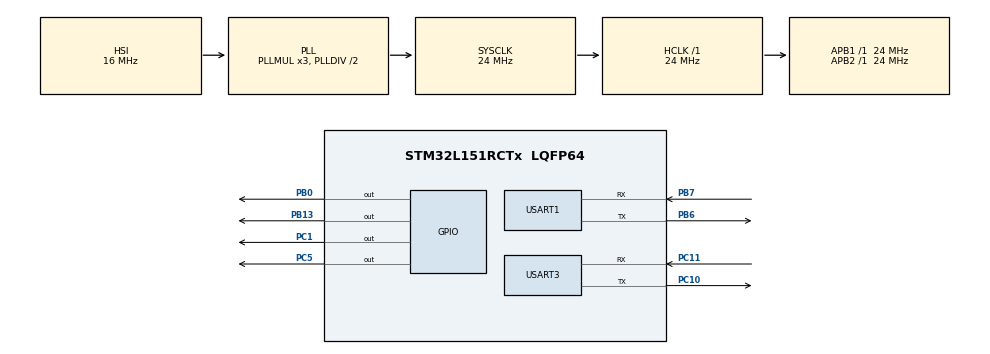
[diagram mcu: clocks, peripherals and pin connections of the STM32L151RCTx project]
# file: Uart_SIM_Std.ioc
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Mcu.Family=STM32L1
Mcu.Name=STM32L151RCTx
Mcu.Package=LQFP64
NVIC.PriorityGroup=NVIC_PRIORITYGROUP_4
NVIC.USART1_IRQn=true\:0\:0\:false\:false\:true\:true\:true\:true
NVIC.USART3_IRQn=true\:0\:0\:false\:false\:true\:true\:true\:true
PA13.Mode=Serial_Wire
PA13.Signal=SYS_JTMS-SWDIO
PA14.Mode=Serial_Wire
PA14.Signal=SYS_JTCK-SWCLK
PB0.Signal=GPIO_Output
PB13.Signal=GPIO_Output
PB6.Mode=Asynchronous
PB6.Signal=USART1_TX
PB7.Mode=Asynchronous
PB7.Signal=USART1_RX
PC1.GPIO_PuPd=GPIO_PULLDOWN
PC1.PinState=GPIO_PIN_RESET
PC1.Signal=GPIO_Output
PC10.Mode=Asynchronous
PC10.Signal=USART3_TX
PC11.Mode=Asynchronous
PC11.Signal=USART3_RX
PC14-OSC32_IN.Mode=LSE-External-Oscillator
PC14-OSC32_IN.Signal=RCC_OSC32_IN
PC15-OSC32_OUT.Mode=LSE-External-Oscillator
PC15-OSC32_OUT.Signal=RCC_OSC32_OUT
PC5.Signal=GPIO_Output
ProjectManager.HeapSize=0x200
ProjectManager.StackSize=0x400
ProjectManager.TargetToolchain=MDK-ARM V5
RCC.48MHZClocksFreq_Value=24000000
RCC.AHBFreq_Value=24000000
RCC.APB1Freq_Value=24000000
RCC.APB1TimFreq_Value=24000000
RCC.APB2Freq_Value=24000000
RCC.APB2TimFreq_Value=24000000
RCC.HCLKFreq_Value=24000000
RCC.HSE_VALUE=24000000
RCC.HSI_VALUE=16000000
RCC.MSI_VALUE=2097000
RCC.RTCClockSelection=RCC_RTCCLKSOURCE_LSE
RCC.RTCClockSelectionVirtual=RCC_RTCCLKSOURCE_LSE
RCC.SYSCLKFreq_VALUE=24000000
RCC.SYSCLKSource=RCC_SYSCLKSOURCE_PLLCLK
RCC.VCOOutputFreq_Value=48000000
USART1.VirtualMode=VM_ASYNC
USART3.VirtualMode=VM_ASYNC
VP_RTC_VS_RTC_Activate.Mode=RTC_Enabled
VP_RTC_VS_RTC_Calendar.Mode=RTC_Calendar
board=custom

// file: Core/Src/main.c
/* USER CODE BEGIN Header */
/**
  ******************************************************************************
  * @file           : main.c
  * @brief          : Main program body
  ******************************************************************************
  * @attention
  *
  * Copyright (c) 2023 STMicroelectronics.
  * All rights reserved.
  *
  * This software is licensed under terms that can be found in the LICENSE file
  * in the root directory of this software component.
  * If no LICENSE file comes with this software, it is provided AS-IS.
  *
  ******************************************************************************
  */
/* USER CODE END Header */
#include "main.h"

/* USER CODE BEGIN Includes */
#include "user_sim.h"
/* USER CODE END Includes */

/* USER CODE BEGIN PD */
#define RECONNECT_SIM         -1
#define CONFIG_SIM             0
#define GETTIME_SIM            1
#define CHECK_CONNECT_SIM      2
#define SEND_DATA_SERVER_SIM   3
/* USER CODE END PD */

RTC_HandleTypeDef hrtc;

UART_HandleTypeDef huart1;
UART_HandleTypeDef huart3;

/* USER CODE BEGIN PV */
UART_BUFFER sUart1 =
{
	.huart = &huart1,
};

UART_BUFFER sUart3 =
{
	.huart = &huart3,
};

RTC_TimeTypeDef sTime;
RTC_DateTypeDef sDate;

REAL_TIME RTC_Current={0};

uint8_t get_RTC=0;          //Xac nhan viec lay thoi gian tu mang di dong

int8_t module_sim_step=0;  //Trang thai dang lam viec Module Sim
/* USER CODE END PV */

void SystemClock_Config(void);
static void MX_GPIO_Init(void);
static void MX_USART1_UART_Init(void);
static void MX_USART3_UART_Init(void);
static void MX_RTC_Init(void);
/* USER CODE BEGIN PFP */
void HAL_UART_RxCpltCallback(UART_HandleTypeDef *huart);
/* USER CODE END PFP */

/* USER CODE BEGIN 0 */
void Set_RTC(REAL_TIME RTC_Current);
void TimeCurrent_And_PackingNews(void);
void Module_SIM(void);

int8_t SendData_Control_Sim(void);
int8_t Check_Connect_Error_Sim(void);
int8_t Config_Module_Sim(void);
int8_t Get_Real_Time_Sim(void);
int8_t Reconnect_Server_Sim(void);
/* USER CODE END 0 */

int main(void)
{

  /* MCU Configuration--------------------------------------------------------*/

  /* Reset of all peripherals, Initializes the Flash interface and the Systick. */
  HAL_Init();

  /* Configure the system clock */
  SystemClock_Config();

  /* Initialize all configured peripherals */
  MX_GPIO_Init();
  MX_USART1_UART_Init();
  MX_USART3_UART_Init();
  MX_RTC_Init();
  /* USER CODE BEGIN 2 */
	HAL_UART_Receive_IT(sUart1.huart,&sUart1.buffer,1);
	HAL_UART_Receive_IT(sUart3.huart,&sUart1.buffer,1);
	Get_Addr_Read_Write();
  /* USER CODE END 2 */

  /* Infinite loop */
  while (1)
  {

    /* USER CODE BEGIN 3 */

		/* Lam viec voi Module Sim */
		Module_SIM();

		/*Lay thoi gian tu RTC*/
		TimeCurrent_And_PackingNews();
  }
  /* USER CODE END 3 */
}

void SystemClock_Config(void)
{
  RCC_OscInitTypeDef RCC_OscInitStruct = {0};
  RCC_ClkInitTypeDef RCC_ClkInitStruct = {0};
  RCC_PeriphCLKInitTypeDef PeriphClkInit = {0};

  /** Configure the main internal regulator output voltage
  */
  __HAL_PWR_VOLTAGESCALING_CONFIG(PWR_REGULATOR_VOLTAGE_SCALE1);

  /** Initializes the RCC Oscillators according to the specified parameters
  * in the RCC_OscInitTypeDef structure.
  */
  RCC_OscInitStruct.OscillatorType = RCC_OSCILLATORTYPE_HSI|RCC_OSCILLATORTYPE_LSE;
  RCC_OscInitStruct.LSEState = RCC_LSE_ON;
  RCC_OscInitStruct.HSIState = RCC_HSI_ON;
  RCC_OscInitStruct.HSICalibrationValue = RCC_HSICALIBRATION_DEFAULT;
  RCC_OscInitStruct.PLL.PLLState = RCC_PLL_ON;
  RCC_OscInitStruct.PLL.PLLSource = RCC_PLLSOURCE_HSI;
  RCC_OscInitStruct.PLL.PLLMUL = RCC_PLL_MUL3;
  RCC_OscInitStruct.PLL.PLLDIV = RCC_PLL_DIV2;
  if (HAL_RCC_OscConfig(&RCC_OscInitStruct) != HAL_OK)
  {
    Error_Handler();
  }

  /** Initializes the CPU, AHB and APB buses clocks
  */
  RCC_ClkInitStruct.ClockType = RCC_CLOCKTYPE_HCLK|RCC_CLOCKTYPE_SYSCLK
                              |RCC_CLOCKTYPE_PCLK1|RCC_CLOCKTYPE_PCLK2;
  RCC_ClkInitStruct.SYSCLKSource = RCC_SYSCLKSOURCE_PLLCLK;
  RCC_ClkInitStruct.AHBCLKDivider = RCC_SYSCLK_DIV1;
  RCC_ClkInitStruct.APB1CLKDivider = RCC_HCLK_DIV1;
  RCC_ClkInitStruct.APB2CLKDivider = RCC_HCLK_DIV1;

  if (HAL_RCC_ClockConfig(&RCC_ClkInitStruct, FLASH_LATENCY_1) != HAL_OK)
  {
    Error_Handler();
  }
  PeriphClkInit.PeriphClockSelection = RCC_PERIPHCLK_RTC;
  PeriphClkInit.RTCClockSelection = RCC_RTCCLKSOURCE_LSE;
  if (HAL_RCCEx_PeriphCLKConfig(&PeriphClkInit) != HAL_OK)
  {
    Error_Handler();
  }
}

static void MX_RTC_Init(void)
{

  RTC_TimeTypeDef sTime = {0};
  RTC_DateTypeDef sDate = {0};

  /** Initialize RTC Only
  */
  hrtc.Instance = RTC;
  hrtc.Init.HourFormat = RTC_HOURFORMAT_24;
  hrtc.Init.AsynchPrediv = 127;
  hrtc.Init.SynchPrediv = 255;
  hrtc.Init.OutPut = RTC_OUTPUT_DISABLE;
  hrtc.Init.OutPutPolarity = RTC_OUTPUT_POLARITY_HIGH;
  hrtc.Init.OutPutType = RTC_OUTPUT_TYPE_OPENDRAIN;
  if (HAL_RTC_Init(&hrtc) != HAL_OK)
  {
    Error_Handler();
  }

  /* USER CODE BEGIN Check_RTC_BKUP */
	if(HAL_RTCEx_BKUPRead(&hrtc, RTC_BKP_DR1)==0x2608)
	{
  /* USER CODE END Check_RTC_BKUP */

  /** Initialize RTC and set the Time and Date
  */
  sTime.Hours = 0x0;
  sTime.Minutes = 0x0;
  sTime.Seconds = 0x0;
  sTime.DayLightSaving = RTC_DAYLIGHTSAVING_NONE;
  sTime.StoreOperation = RTC_STOREOPERATION_RESET;
  if (HAL_RTC_SetTime(&hrtc, &sTime, RTC_FORMAT_BCD) != HAL_OK)
  {
    Error_Handler();
  }
  sDate.WeekDay = RTC_WEEKDAY_MONDAY;
  sDate.Month = RTC_MONTH_JANUARY;
  sDate.Date = 0x1;
  sDate.Year = 0x0;

  if (HAL_RTC_SetDate(&hrtc, &sDate, RTC_FORMAT_BCD) != HAL_OK)
  {
    Error_Handler();
  }
  /* USER CODE BEGIN RTC_Init 2 */
	HAL_RTCEx_BKUPWrite(&hrtc, RTC_BKP_DR1, 0x2608);
	}
  /* USER CODE END RTC_Init 2 */

}

static void MX_USART1_UART_Init(void)
{

  huart1.Instance = USART1;
  huart1.Init.BaudRate = 115200;
  huart1.Init.WordLength = UART_WORDLENGTH_8B;
  huart1.Init.StopBits = UART_STOPBITS_1;
  huart1.Init.Parity = UART_PARITY_NONE;
  huart1.Init.Mode = UART_MODE_TX_RX;
  huart1.Init.HwFlowCtl = UART_HWCONTROL_NONE;
  huart1.Init.OverSampling = UART_OVERSAMPLING_16;
  if (HAL_UART_Init(&huart1) != HAL_OK)
  {
    Error_Handler();
  }

}

static void MX_USART3_UART_Init(void)
{

  huart3.Instance = USART3;
  huart3.Init.BaudRate = 115200;
  huart3.Init.WordLength = UART_WORDLENGTH_8B;
  huart3.Init.StopBits = UART_STOPBITS_1;
  huart3.Init.Parity = UART_PARITY_NONE;
  huart3.Init.Mode = UART_MODE_TX_RX;
  huart3.Init.HwFlowCtl = UART_HWCONTROL_NONE;
  huart3.Init.OverSampling = UART_OVERSAMPLING_16;
  if (HAL_UART_Init(&huart3) != HAL_OK)
  {
    Error_Handler();
  }

}

static void MX_GPIO_Init(void)
{
  GPIO_InitTypeDef GPIO_InitStruct = {0};

  /* GPIO Ports Clock Enable */
  __HAL_RCC_GPIOC_CLK_ENABLE();
  __HAL_RCC_GPIOB_CLK_ENABLE();
  __HAL_RCC_GPIOA_CLK_ENABLE();

  /*Configure GPIO pin Output Level */
  HAL_GPIO_WritePin(GPIOC, GPIO_PIN_1|GPIO_PIN_5, GPIO_PIN_RESET);

  /*Configure GPIO pin Output Level */
  HAL_GPIO_WritePin(GPIOB, GPIO_PIN_0|GPIO_PIN_13, GPIO_PIN_RESET);

  /*Configure GPIO pin : PC1 */
  GPIO_InitStruct.Pin = GPIO_PIN_1;
  GPIO_InitStruct.Mode = GPIO_MODE_OUTPUT_PP;
  GPIO_InitStruct.Pull = GPIO_PULLDOWN;
  GPIO_InitStruct.Speed = GPIO_SPEED_FREQ_LOW;
  HAL_GPIO_Init(GPIOC, &GPIO_InitStruct);

  /*Configure GPIO pin : PC5 */
  GPIO_InitStruct.Pin = GPIO_PIN_5;
  GPIO_InitStruct.Mode = GPIO_MODE_OUTPUT_PP;
  GPIO_InitStruct.Pull = GPIO_NOPULL;
  GPIO_InitStruct.Speed = GPIO_SPEED_FREQ_LOW;
  HAL_GPIO_Init(GPIOC, &GPIO_InitStruct);

  /*Configure GPIO pins : PB0 PB13 */
  GPIO_InitStruct.Pin = GPIO_PIN_0|GPIO_PIN_13;
  GPIO_InitStruct.Mode = GPIO_MODE_OUTPUT_PP;
  GPIO_InitStruct.Pull = GPIO_NOPULL;
  GPIO_InitStruct.Speed = GPIO_SPEED_FREQ_LOW;
  HAL_GPIO_Init(GPIOB, &GPIO_InitStruct);

}

/* USER CODE BEGIN 4 */
void Module_SIM(void)
{
	int8_t check_module_sim_step=0;
	switch(module_sim_step)
	{
		case RECONNECT_SIM:
			check_module_sim_step = Reconnect_Server_Sim();
			if(check_module_sim_step == 1) module_sim_step = GETTIME_SIM;
			if(check_module_sim_step ==-1) module_sim_step = CONFIG_SIM;
			break;

		case CONFIG_SIM:
			check_module_sim_step = Config_Module_Sim();
			if(check_module_sim_step == 1) module_sim_step = GETTIME_SIM;
			break;

		case GETTIME_SIM:
			check_module_sim_step = Get_Real_Time_Sim();
			if(check_module_sim_step == 1) module_sim_step++;
			if(check_module_sim_step ==-1) module_sim_step = CONFIG_SIM;
			break;

		case CHECK_CONNECT_SIM:
			check_module_sim_step = Check_Connect_Error_Sim();
			if(check_module_sim_step == -1) module_sim_step = RECONNECT_SIM;
			else module_sim_step++;
			break;

		case SEND_DATA_SERVER_SIM:
			check_module_sim_step = SendData_Control_Sim();
			if(check_module_sim_step == -1) module_sim_step = CONFIG_SIM;
			else module_sim_step++;
			break;

		default:
			HAL_GPIO_WritePin(GPIOC, GPIO_PIN_1, GPIO_PIN_SET);
			module_sim_step = GETTIME_SIM;
			break;
	}
}

/*
	@brief  Cau hinh Module Sim
	@return (1) Hoan thanh
	@return (0) Chua hoan thanh
*/
int8_t Config_Module_Sim(void)
{
	HAL_GPIO_WritePin(GPIOC, GPIO_PIN_1, GPIO_PIN_RESET);
	Reset_Cipsend();
	if(Config_SIM(&sUart1, &sUart3) == 1)
	{
		if(sDate.Year == 0) get_RTC=1;
		return 1;
	}
	return 0;
}

/*
	@brief  Kiem tra ket noi Module Sim
	@return (1) Co ket noi
	@return (-1) Mat ket noi
*/
int8_t Check_Connect_Error_Sim(void)
{
	if(Check_Disconnect_Error(&sUart1, &sUart3) == 1) // Kiem tra mat ket noi
	{
		Delete_Buffer(&sUart3);
		return -1;
	}
	return 1;
}

/*
	@brief  Ket noi lai Module Sim voi Server
	@return (-1) Khong ket noi duoc sau 3 lan
	@return (1)  Ket noi thanh cong
	@return (0)  Chua hoan thanh
*/
int8_t Reconnect_Server_Sim(void)
{
	HAL_GPIO_WritePin(GPIOC, GPIO_PIN_1, GPIO_PIN_RESET);
	Reset_Cipsend();
	int8_t connect_server = Connect_Server_SIM(&sUart1, &sUart3); // Ket noi lai Module Sim voi Server
	if(connect_server == 1) return 1;
	if(connect_server == -1)return -1;
	return 0;
}

/*
	@brief  Gui du lieu len Server
	@return (-1) Gui khong thanh cong
	@return (1)  Gui thanh cong
	@return (0)  Chua gui xong
*/
int8_t SendData_Control_Sim(void)
{
	int8_t check_SendData_Server = SendData_Server(&sUart1, &sUart3, &RTC_Current);
	if(check_SendData_Server == -1) return -1;
	else if(check_SendData_Server == 1) return 1;
	return 0;
}

/*
	@brief  Lay thoi gian tu mang di dong
	@return (-1) Khong co ket noi
	@return (1)  Hoan thanh
	@return (0)  Chua hoan thanh
*/
int8_t Get_Real_Time_Sim(void)
{
	if(get_RTC == 1)
	{
		int8_t check_Get_Real_Time = Get_Real_Time(&sUart1, &sUart3, &RTC_Current); // Lay thoi gian tu mang di dong
		if(check_Get_Real_Time == 1)
		{
			get_RTC=0;
			Set_RTC(RTC_Current);
			return 1;
		}
		if(check_Get_Real_Time == -1)
		{
			return -1;
		}
	}
	else
	{
		return 1;
	}
	return 0;
}

/*
	@brief  Lay thoi gian tu RTC, kiem tra va dong goi ban tin
	@retval None
*/
void TimeCurrent_And_PackingNews(void)
{
	HAL_RTC_GetTime(&hrtc, &sTime, RTC_FORMAT_BIN); // Lay thoi gian tu RTC
	HAL_RTC_GetDate(&hrtc, &sDate, RTC_FORMAT_BIN); // Lay ngay tu RTC
	if(sDate.Year != 0)
	{
		if(sTime.Seconds != RTC_Current.Seconds)
		{
			RTC_Current.Send_Data_Server=1;
			RTC_Current.Seconds = sTime.Seconds;
			RTC_Current.Minutes = sTime.Minutes;
			RTC_Current.Hour    = sTime.Hours;
			RTC_Current.Date    = sDate.Date;
			RTC_Current.Month   = sDate.Month;
			RTC_Current.Year    = sDate.Year;
			if(RTC_Current.Seconds==0)
			{
				RTC_Current.Send_Data_Server=1;
			}
			if(RTC_Current.Hour == 0 && RTC_Current.Minutes == 0 && RTC_Current.Seconds == 0)
			{
				get_RTC=1;
			}
		}
	}
	if(RTC_Current.Year != 0)
	{
		Packing_News(&RTC_Current); // Dong goi ban tin
	}
}

/*
	@brief  Nap thoi gian vao RTC
	@retval None
*/
void Set_RTC(REAL_TIME RTC_Current)
{
	sTime.Hours=RTC_Current.Hour;
	sTime.Minutes=RTC_Current.Minutes;
	sTime.Seconds=RTC_Current.Seconds;
	HAL_RTC_SetTime(&hrtc, &sTime, RTC_FORMAT_BIN); // Nap thoi gian vao RTC

	sDate.Year=RTC_Current.Year;
	sDate.Month=RTC_Current.Month;
	sDate.Date=RTC_Current.Date;
	HAL_RTC_SetDate(&hrtc, &sDate, RTC_FORMAT_BIN);	// Nap ngay vao RTC
}

/*
	@brief  Ngat nhan Uart
	@param  huart, Uart
	@retval None
*/
void HAL_UART_RxCpltCallback(UART_HandleTypeDef *huart)
{
  /* Prevent unused argument(s) compilation warning */
  UNUSED(huart);
	if(huart->Instance == huart3.Instance)
	{
		Check_CountBuffer_Complete_Uart3(&sUart3);
		if(sUart3.countBuffer < LENGTH_BUFFER_UART)
		{
			sUart3.sim_rx[(sUart3.countBuffer)++]= sUart3.buffer;
			if(sUart3.countBuffer == LENGTH_BUFFER_UART) sUart3.countBuffer=0;
		}
		HAL_UART_Receive_IT(&huart3,&sUart3.buffer,1);
	}

	if(huart->Instance == huart1.Instance)
	{
		Check_CountBuffer_Complete_Uart1(&sUart1);
		if(sUart1.countBuffer < LENGTH_BUFFER_UART)
		{
			sUart1.sim_rx[(sUart1.countBuffer)++]= sUart1.buffer;
			if(sUart1.countBuffer == LENGTH_BUFFER_UART) sUart1.countBuffer=0;
		}
		HAL_UART_Receive_IT(&huart1,&sUart1.buffer,1);
	}
  /* NOTE: This function should not be modified, when the callback is needed,
           the HAL_UART_RxCpltCallback could be implemented in the user file
   */
}

/* USER CODE END 4 */

void Error_Handler(void)
{
  __disable_irq();
  while (1)
  {
  }
}
